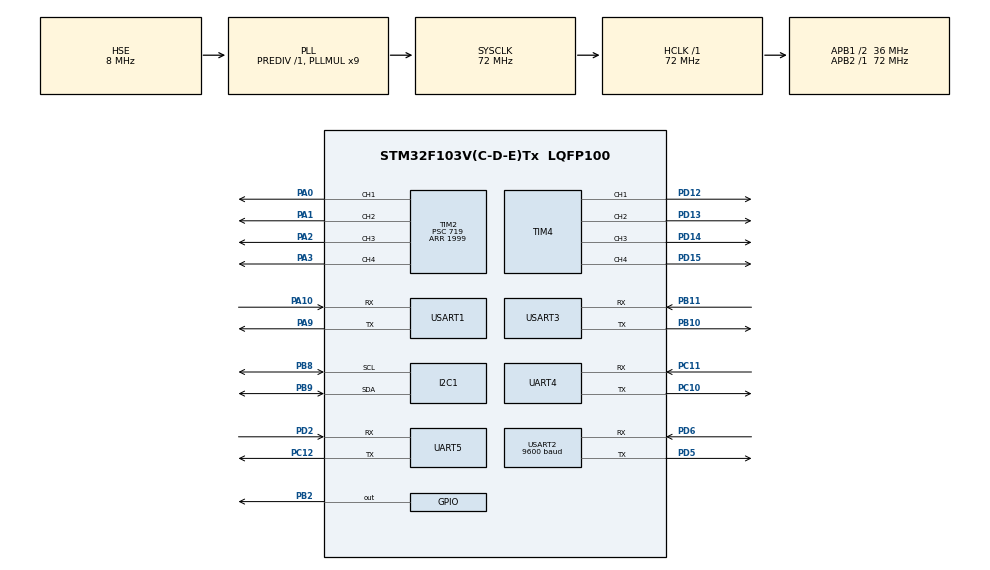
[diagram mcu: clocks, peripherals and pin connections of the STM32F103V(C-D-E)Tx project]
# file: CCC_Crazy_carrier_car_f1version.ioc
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I2C1.I2C_Mode=I2C_Fast
Mcu.Family=STM32F1
Mcu.Name=STM32F103V(C-D-E)Tx
Mcu.Package=LQFP100
NVIC.PriorityGroup=NVIC_PRIORITYGROUP_4
NVIC.TIM1_UP_IRQn=true\:0\:0\:false\:false\:true\:true\:true\:true
NVIC.UART4_IRQn=true\:0\:0\:false\:false\:true\:true\:true\:true
NVIC.UART5_IRQn=true\:0\:0\:false\:false\:true\:true\:true\:true
NVIC.USART1_IRQn=true\:0\:0\:false\:false\:true\:true\:true\:true
NVIC.USART2_IRQn=true\:0\:0\:false\:false\:true\:true\:true\:true
NVIC.USART3_IRQn=true\:0\:0\:false\:false\:true\:true\:true\:true
OSC_IN.Mode=HSE-External-Oscillator
OSC_IN.Signal=RCC_OSC_IN
OSC_OUT.Mode=HSE-External-Oscillator
OSC_OUT.Signal=RCC_OSC_OUT
PA0-WKUP.Signal=S_TIM2_CH1_ETR
PA1.Signal=S_TIM2_CH2
PA10.Mode=Asynchronous
PA10.Signal=USART1_RX
PA13.Mode=Serial_Wire
PA13.Signal=SYS_JTMS-SWDIO
PA14.Mode=Serial_Wire
PA14.Signal=SYS_JTCK-SWCLK
PA2.Signal=S_TIM2_CH3
PA3.Signal=S_TIM2_CH4
PA9.Mode=Asynchronous
PA9.Signal=USART1_TX
PB10.Mode=Asynchronous
PB10.Signal=USART3_TX
PB11.Mode=Asynchronous
PB11.Signal=USART3_RX
PB2.PinState=GPIO_PIN_SET
PB2.Signal=GPIO_Output
PB8.Mode=I2C
PB8.Signal=I2C1_SCL
PB9.Mode=I2C
PB9.Signal=I2C1_SDA
PC10.Mode=Asynchronous
PC10.Signal=UART4_TX
PC11.Mode=Asynchronous
PC11.Signal=UART4_RX
PC12.Mode=Asynchronous
PC12.Signal=UART5_TX
PD12.Signal=S_TIM4_CH1
PD13.Signal=S_TIM4_CH2
PD14.Signal=S_TIM4_CH3
PD15.Signal=S_TIM4_CH4
PD2.Mode=Asynchronous
PD2.Signal=UART5_RX
PD5.Mode=Asynchronous
PD5.Signal=USART2_TX
PD6.Mode=Asynchronous
PD6.Signal=USART2_RX
ProjectManager.HeapSize=0x200
ProjectManager.StackSize=0x400
ProjectManager.TargetToolchain=MDK-ARM V5.32
RCC.AHBFreq_Value=72000000
RCC.APB1CLKDivider=RCC_HCLK_DIV2
RCC.APB1Freq_Value=36000000
RCC.APB1TimFreq_Value=72000000
RCC.APB2Freq_Value=72000000
RCC.APB2TimFreq_Value=72000000
RCC.HCLKFreq_Value=72000000
RCC.PLLMUL=RCC_PLL_MUL9
RCC.PLLSourceVirtual=RCC_PLLSOURCE_HSE
RCC.SYSCLKFreq_VALUE=72000000
RCC.SYSCLKSource=RCC_SYSCLKSOURCE_PLLCLK
RCC.USBFreq_Value=72000000
SH.S_TIM2_CH1_ETR.0=TIM2_CH1,PWM Generation1 CH1
SH.S_TIM2_CH2.0=TIM2_CH2,PWM Generation2 CH2
SH.S_TIM2_CH3.0=TIM2_CH3,PWM Generation3 CH3
SH.S_TIM2_CH4.0=TIM2_CH4,PWM Generation4 CH4
SH.S_TIM4_CH1.0=TIM4_CH1,PWM Generation1 CH1
SH.S_TIM4_CH2.0=TIM4_CH2,PWM Generation2 CH2
SH.S_TIM4_CH3.0=TIM4_CH3,PWM Generation3 CH3
SH.S_TIM4_CH4.0=TIM4_CH4,PWM Generation4 CH4
TIM1.Period=10000-1
TIM1.Prescaler=72-1
TIM2.AutoReloadPreload=TIM_AUTORELOAD_PRELOAD_ENABLE
TIM2.Channel-PWM\ Generation1\ CH1=TIM_CHANNEL_1
TIM2.Channel-PWM\ Generation2\ CH2=TIM_CHANNEL_2
TIM2.Channel-PWM\ Generation3\ CH3=TIM_CHANNEL_3
TIM2.Channel-PWM\ Generation4\ CH4=TIM_CHANNEL_4
TIM2.Period=1999
TIM2.Prescaler=719
TIM2.Pulse-PWM\ Generation1\ CH1=0
TIM4.Channel-PWM\ Generation1\ CH1=TIM_CHANNEL_1
TIM4.Channel-PWM\ Generation2\ CH2=TIM_CHANNEL_2
TIM4.Channel-PWM\ Generation3\ CH3=TIM_CHANNEL_3
TIM4.Channel-PWM\ Generation4\ CH4=TIM_CHANNEL_4
UART4.VirtualMode=Asynchronous
UART5.VirtualMode=Asynchronous
USART1.VirtualMode=VM_ASYNC
USART2.BaudRate=9600
USART2.VirtualMode=VM_ASYNC
USART3.VirtualMode=VM_ASYNC
VP_TIM1_VS_ClockSourceINT.Mode=Internal
VP_TIM2_VS_ClockSourceINT.Mode=Internal
VP_TIM3_VS_ClockSourceINT.Mode=Internal
VP_TIM4_VS_ClockSourceINT.Mode=Internal
board=custom

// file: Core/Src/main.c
/* USER CODE BEGIN Header */
/**
  ******************************************************************************
  * @file           : main.c
  * @brief          : Main program body
  ******************************************************************************
  * @attention
  *
  * Copyright (c) 2024 STMicroelectronics.
  * All rights reserved.
  *
  * This software is licensed under terms that can be found in the LICENSE file
  * in the root directory of this software component.
  * If no LICENSE file comes with this software, it is provided AS-IS.
  *
  ******************************************************************************
  */
/* USER CODE END Header */
#include "main.h"
#include "i2c.h"
#include "tim.h"
#include "usart.h"
#include "gpio.h"

/* USER CODE BEGIN Includes */

//! 我的头文件
#include "motor.h"
#include "uart_screen.h"
#include "my_usart.h"
#include "my_mpu6050.h"

/* USER CODE END Includes */

/* USER CODE BEGIN PM */

void UART_handle_function(void);

/* USER CODE END PM */

/* USER CODE BEGIN PV */

//! 各种变量

extern int tim1_count; // 定时器1计数变量
extern uint8_t rxdata_u2[50],rxdata_u3[50]; // usart2,3接收缓冲区
extern uint8_t received_rxdata_u2,received_rxdata_u3; // 暂存usart2,3接收到的数据单字节变量
extern uchar rxflag_u2,rxflag_u3; // usart2,3接收标志位变量

// float yaw = 0, pitch = 0, roll = 0; // 陀螺仪数据
// short gx = 0, gy = 0, gz = 0; // 陀螺仪数据

/* USER CODE END PV */

void SystemClock_Config(void);

int main(void)
{

  /* MCU Configuration--------------------------------------------------------*/

  /* Reset of all peripherals, Initializes the Flash interface and the Systick. */
  HAL_Init();

  /* Configure the system clock */
  SystemClock_Config();

  /* Initialize all configured peripherals */
  MX_GPIO_Init();
  MX_USART1_UART_Init();
  MX_USART2_UART_Init();
  MX_UART4_Init();
  MX_UART5_Init();
  MX_USART3_UART_Init();
  MX_TIM1_Init();
  MX_TIM2_Init();
  MX_TIM3_Init();
  MX_TIM4_Init();
  MX_I2C1_Init();
  /* USER CODE BEGIN 2 */
    HAL_UART_Receive_IT(&huart2, &received_rxdata_u2, 1); // 使能串口2接收中断
    HAL_UART_Receive_IT(&huart3, &received_rxdata_u3, 1); // 使能串口3接收中断
    // HAL_UART_Transmit(&huart3, (uint8_t*)"hello,summer", strlen("hello,summer"), 50);
    HAL_TIM_PWM_Start(&htim2, TIM_CHANNEL_1); // 开启TIM2通道1 PWM输出
    HAL_TIM_Base_Start_IT(&htim1); // 开启TIM1定时器中断

    // 初始化MPU6050
    // int dmpinit;
    // do
    // {
    //     dmpinit = MPU6050_DMP_init();
    //     printf("dmpinit = %d\xff\xff\xff", dmpinit);
    // } while (dmpinit != 0);
    // printf("init_success\xff\xff\xff");

    HAL_Delay(2000); // 等待电机初始化

  /* USER CODE END 2 */

  /* Infinite loop */
  while (1)
  {

    /* USER CODE BEGIN 3 */

    UART_handle_function();
    // MPU_Get_Gyroscope(&gx, &gy, &gz);
    // MPU6050_DMP_Get_Date(&pitch, &roll, &yaw);
    // printf("t0.txt=\"%.2f\"\xff\xff\xff", yaw);
    //printf("t0.txt=\"%d\"\xff\xff\xff", gz);
    HAL_Delay(100);
    // test_move();
  }
  /* USER CODE END 3 */
}

void SystemClock_Config(void)
{
  RCC_OscInitTypeDef RCC_OscInitStruct = {0};
  RCC_ClkInitTypeDef RCC_ClkInitStruct = {0};

  /** Initializes the RCC Oscillators according to the specified parameters
  * in the RCC_OscInitTypeDef structure.
  */
  RCC_OscInitStruct.OscillatorType = RCC_OSCILLATORTYPE_HSE;
  RCC_OscInitStruct.HSEState = RCC_HSE_ON;
  RCC_OscInitStruct.HSEPredivValue = RCC_HSE_PREDIV_DIV1;
  RCC_OscInitStruct.HSIState = RCC_HSI_ON;
  RCC_OscInitStruct.PLL.PLLState = RCC_PLL_ON;
  RCC_OscInitStruct.PLL.PLLSource = RCC_PLLSOURCE_HSE;
  RCC_OscInitStruct.PLL.PLLMUL = RCC_PLL_MUL9;
  if (HAL_RCC_OscConfig(&RCC_OscInitStruct) != HAL_OK)
  {
    Error_Handler();
  }

  /** Initializes the CPU, AHB and APB buses clocks
  */
  RCC_ClkInitStruct.ClockType = RCC_CLOCKTYPE_HCLK|RCC_CLOCKTYPE_SYSCLK
                              |RCC_CLOCKTYPE_PCLK1|RCC_CLOCKTYPE_PCLK2;
  RCC_ClkInitStruct.SYSCLKSource = RCC_SYSCLKSOURCE_PLLCLK;
  RCC_ClkInitStruct.AHBCLKDivider = RCC_SYSCLK_DIV1;
  RCC_ClkInitStruct.APB1CLKDivider = RCC_HCLK_DIV2;
  RCC_ClkInitStruct.APB2CLKDivider = RCC_HCLK_DIV1;

  if (HAL_RCC_ClockConfig(&RCC_ClkInitStruct, FLASH_LATENCY_2) != HAL_OK)
  {
    Error_Handler();
  }
}

/* USER CODE BEGIN 4 */

void UART_handle_function()
{
    if(rxflag_u2 != 0)
    {
        int temp = rxflag_u2;
        HAL_Delay(1); // 确保接受完了全部数据
        if(temp == rxflag_u2)
        {
            UART_receive_process();
        }
    }
    if(rxflag_u3 != 0)
    {
        int temp = rxflag_u3;
        HAL_Delay(1); // 确保接受完了全部数据
        if(temp == rxflag_u3)
        {
            UART_receive_process();
        }
    }
}
/* USER CODE END 4 */

void Error_Handler(void)
{
  __disable_irq();
  while (1)
  {
  }
}
